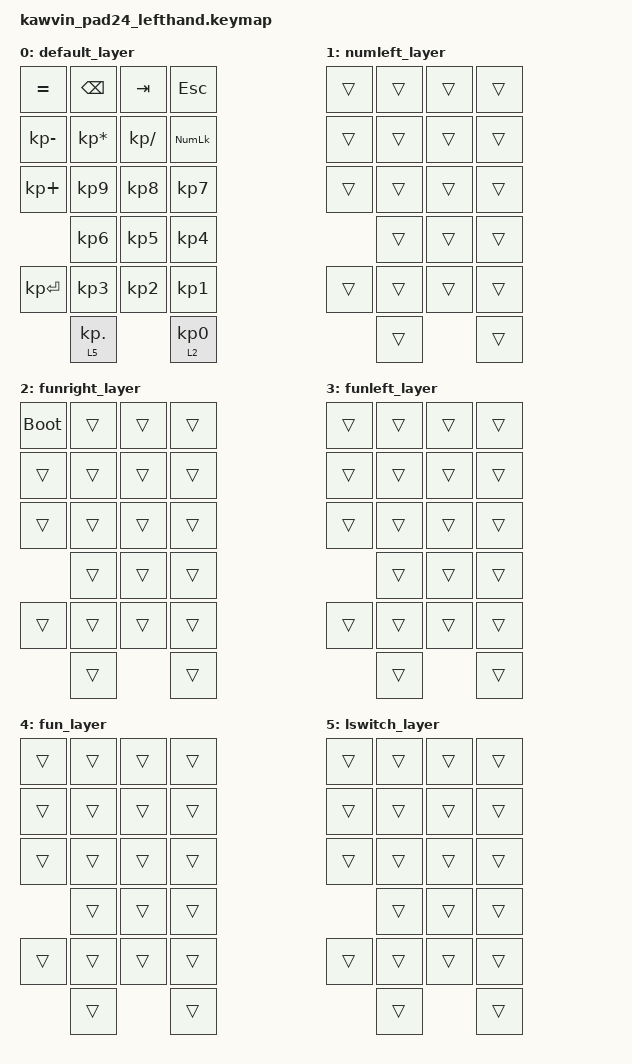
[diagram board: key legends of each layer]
/*
 * Copyright (c) 2021 The ZMK Contributors
 *
 * SPDX-License-Identifier: MIT
 */

#include <behaviors.dtsi>
#include <dt-bindings/zmk/keys.h>
#include <dt-bindings/zmk/bt.h>

/*
&led_strip {
    chain-length = <24>;
    // chain-length = <35>; // Uncomment if using both per-key and underglow LEDs
    // chain-length = <29>; // Uncomment if using only per-key LEDs.
};
*/

#define DEFAULT 0
#define NUMLEFT 1
#define FUNRIGHT 2
#define FUNLEFT 3
#define FUN 4
#define LSWITCH 5

/ {
        keymap {
                compatible = "zmk,keymap";

                default_layer {
//  ---------------------------------------------------------------------------------
//	|=    |BSPC|TAB |ESC     |
//	|-    |*   |/   |Num_Lock|
//	|+    |9   |8   |7       |
//	|     |6   |5   |4       |
//	|ENTER|3   |2   |1       |
//	|     |.   |    |0       |


                        bindings = <
&kp EQUAL     &kp BSPC         &kp TAB       &kp ESC      
&kp KP_MINUS  &kp KP_MULTIPLY  &kp KP_SLASH  &kp KP_NLCK  
&kp KP_PLUS   &kp KP_N9        &kp KP_N8     &kp KP_N7    
              &kp KP_N6        &kp KP_N5     &kp KP_N4    
&kp KP_ENTER  &kp KP_N3        &kp KP_N2     &kp KP_N1    
              &lt 5 KP_DOT                   &lt 2 KP_N0  


                                >;
                        };

                numleft_layer {
//  ---------------------------------------------------------------------------------
//  |    |    |    |    |
//  |    |    |    |    |
//  |    |    |    |    |
//  |    |    |    |    |
//  |    |    |    |    |
//  |    |    |    |    |

                        bindings = <
&trans  &trans  &trans  &trans  
&trans  &trans  &trans  &trans  
&trans  &trans  &trans  &trans  
        &trans  &trans  &trans  
&trans  &trans  &trans  &trans  
        &trans          &trans  

                                >;
                        };

                funright_layer {
//  ---------------------------------------------------------------------------------
//  |&bootloader|    |    |    |
//  |           |    |    |    |
//  |           |    |    |    |
//  |           |    |    |    |
//  |           |    |    |    |
//  |           |    |    |    |

                        bindings = <
&bootloader  &trans  &trans  &trans  
&trans       &trans  &trans  &trans  
&trans       &trans  &trans  &trans  
             &trans  &trans  &trans  
&trans       &trans  &trans  &trans  
             &trans          &trans  
                                >;
                        };

                funleft_layer {
//  ---------------------------------------------------------------------------------
//  |    |    |    |    |
//  |    |    |    |    |
//  |    |    |    |    |
//  |    |    |    |    |
//  |    |    |    |    |
//  |    |    |    |    |

                        bindings = <
&trans  &trans  &trans  &trans  
&trans  &trans  &trans  &trans  
&trans  &trans  &trans  &trans  
        &trans  &trans  &trans  
&trans  &trans  &trans  &trans  
        &trans          &trans  

                                >;
                        };

                fun_layer {
//  ---------------------------------------------------------------------------------
//  |    |    |    |    |
//  |    |    |    |    |
//  |    |    |    |    |
//  |    |    |    |    |
//  |    |    |    |    |
//  |    |    |    |    |

                        bindings = <
&trans  &trans  &trans  &trans  
&trans  &trans  &trans  &trans  
&trans  &trans  &trans  &trans  
        &trans  &trans  &trans  
&trans  &trans  &trans  &trans  
        &trans          &trans  

                                >;
                        };
                
                lswitch_layer {
//  ---------------------------------------------------------------------------------
//  |    |    |    |    |
//  |    |    |    |    |
//  |    |    |    |    |
//  |    |    |    |    |
//  |    |    |    |    |
//  |    |    |    |    |

                        bindings = <
&trans  &trans  &trans  &trans  
&trans  &trans  &trans  &trans  
&trans  &trans  &trans  &trans  
        &trans  &trans  &trans  
&trans  &trans  &trans  &trans  
        &trans          &trans  

                                >;
                };
        };
};
